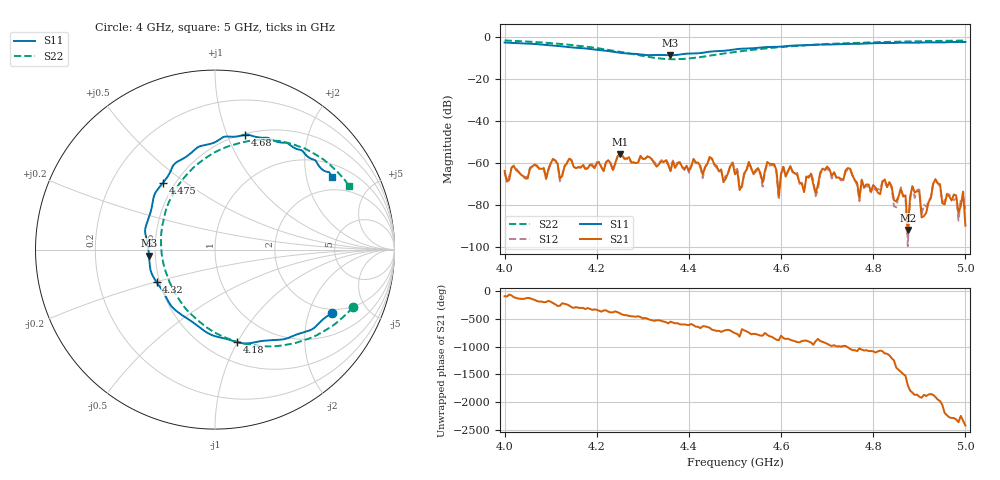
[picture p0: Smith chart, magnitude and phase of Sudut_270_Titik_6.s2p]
# Hz S RI R 50
! CMT, C1220, 16058040, 17.2.0/1
! Date: 15/08/2018 12:13:21
! Data: Format (Calibration Info)
! Freq  S11: Re/Im (F2)  S21: Re/Im (F2)  S12: Re/Im (F2)  S22: Re/Im (F2)
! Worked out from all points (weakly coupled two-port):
!   201 points, 4 GHz to 5 GHz, reference 50 ohm
!   highest |S21| = -55.71 dB at 4.25 GHz (marker M1); lowest = -91.8 dB at 4.875 GHz (marker M2)
!   lowest |S11| = -8.7 dB at 4.36 GHz (marker M3), VSWR 2.17, Z = 23.1 - j1.77 ohm
!   |S11| at or under -10 dB: nowhere
!   |S22| runs from -10.5 to -1.6 dB; largest |S21 - S12| = 0.00015
!   S11 on the Smith chart (normalised r, x): 4 GHz: 1.84, -2.88; 4.18 GHz: 0.69, -0.99; 4.32 GHz: 0.48, -0.20; 4.475 GHz: 0.43, +0.41; 4.68 GHz: 0.51, +1.16; 5 GHz: 1.44, +2.83
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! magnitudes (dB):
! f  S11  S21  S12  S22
! 4 GHz  -2.6  -63.7  -64.6  -1.6
! 4.17 GHz  -5.3  -61.0  -60.4  -4.4
! 4.18 GHz  -5.5  -62.6  -62.1  -4.6
! 4.25 GHz  -7.5  -55.7  -55.8  -7.0
! 4.32 GHz  -8.6  -58.3  -58.5  -9.7
! 4.335 GHz  -8.5  -60.5  -60.2  -10.1
! 4.36 GHz  -8.7  -63.7  -63.9  -10.5
! 4.445 GHz  -6.9  -57.1  -57.6  -8.8
! 4.475 GHz  -6.5  -69.1  -68.3  -7.9
! 4.5 GHz  -5.8  -65.3  -63.5  -7.1
! 4.585 GHz  -4.7  -60.5  -61.3  -5.0
! 4.595 GHz  -4.6  -75.9  -77.5  -4.8
! 4.605 GHz  -4.4  -61.7  -61.9  -4.7
! 4.67 GHz  -3.7  -70.2  -68.3  -3.7
! 4.68 GHz  -3.6  -70.3  -72.7  -3.5
! 4.7 GHz  -3.5  -61.7  -62.6  -3.3
! 4.75 GHz  -3.2  -62.8  -63.0  -2.8
! 4.77 GHz  -3.2  -76.8  -78.1  -2.7
! 4.835 GHz  -2.8  -69.0  -69.1  -2.3
! 4.875 GHz  -2.7  -91.8  -99.6  -2.1
! 4.935 GHz  -2.6  -67.6  -68.6  -1.8
! 5 GHz  -2.3  -89.7  -82.0  -1.6
